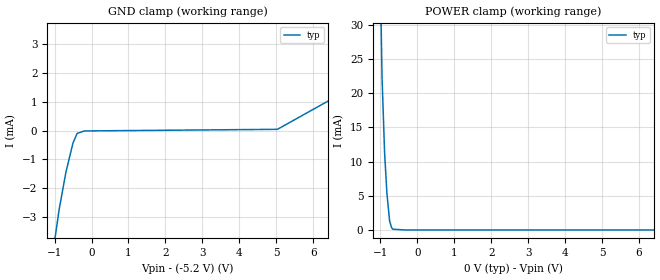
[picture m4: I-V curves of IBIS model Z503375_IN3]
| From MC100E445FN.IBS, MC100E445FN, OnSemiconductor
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| (C) COPYRIGHT 1993-2000
| MENTOR GRAPHICS CORPORATION
| ICX STANDARD LIBRARY, ICX PROJECT MODELING,
| ICX CUSTOM MODELING, ICX VENDOR MODEL
| ALL RIGHTS RESERVED.
| THE FOLLOWING ARE TRADEMARKS OR SERVICE MARKS OF
| MENTOR GRAPHICS CORPORATION:ICX (R), ICX STANDARD
| LIBRARY(R), ICX PROJECT MODELING(R), ICX CUSTOM
| MODELING(R), qualityIBIS(TM), MODELVIEWER(TM),
| AND MODELEDITOR(TM)
| ALL COPIES OF SOFTWARE, INCLUDING BUT NOT LIMITED TO
| ANY MODIFICATIONS, ENHANCEMENTS OR DERIVATIVE WORKS,
| MUST CONTAIN ALL MENTOR GRAPHICS CORPORATION'S
| NOTICES AND LEGENDS, INCLUDING THOSE EMBEDDED IN
| SOFTWARE AND THOSE AFFIXED TO SOFTWARE MEDIUM
| AND CONTAINER, AS RECEIVED FROM MENTOR GRAPHICS
| CORPORATION.
| Model Application Version 1.89 2/18/99.
[Model] Z503375_IN3
Model_type Input_ECL
Vinl = -1.475V
Vinh = -1.165V
C_comp 4.000pF NA NA
| variable typ   min   max
[Voltage Range] -5.200V NA NA
[GND Clamp Reference] -5.200V NA NA
[POWER Clamp Reference] 0.000V NA NA
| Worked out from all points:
|   GND clamp passes 1 mA (typ) near -0.61 V on its own axis
|   POWER clamp passes 1 mA (typ) near -0.73 V on its own axis
[GND Clamp]
-5.2V     -83.21mA   NA         NA
-1.025V   -4.063mA   NA         NA
-879mV    -2.754mA   NA         NA
-693mV    -1.443mA   NA         NA
-503mV    -436.4uA   NA         NA
-390mV    -100.9uA   NA         NA
-195mV    -14.52uA   NA         NA
5.032V    41.79uA    NA         NA
10.4V     3.873mA    NA         NA
[POWER Clamp]
-5.2V     1.985A     NA         NA
-1.079V   61.21mA    NA         NA
-955.8mV  22.37mA    NA         NA
-886.8mV  11.37mA    NA         NA
-824.9mV  5.444mA    NA         NA
-751.1mV  1.325mA    NA         NA
-698.2mV  343.8uA    NA         NA
-661.2mV  110.4uA    NA         NA
-330.6mV  0A         NA         NA
10.4V     0A         NA         NA
